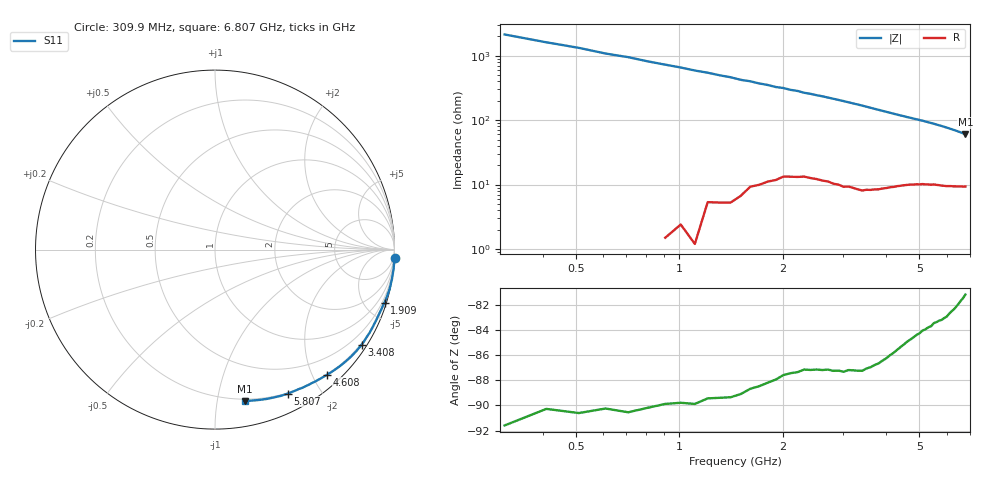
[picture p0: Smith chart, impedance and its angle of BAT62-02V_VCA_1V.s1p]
! Infineon Technologies  Discrete & RF Semiconductors
! BAT62-02V
! VCA = 1 V
! One-Port S-Parameters
# Hz  S  MA  R  50
!f  S11
!Hz  Mag  Ang
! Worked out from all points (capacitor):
!   66 points, 309.9 MHz to 6.807 GHz, reference 50 ohm
!   read as one part to ground: C = 240 fF near 309.9 MHz
!   lowest |Z| = 60.8 ohm at 6.807 GHz (marker M1)
!   S11 on the Smith chart (normalised r, x): 309.9 MHz: -1, -43; 1.909 GHz: 0.24, -6.55; 3.408 GHz: 0.16, -3.36; 4.608 GHz: 0.20, -2.23; 5.807 GHz: 0.19, -1.61; 6.807 GHz: 0.19, -1.20
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3.0985e8  1.001 -2.7
7.0965e8  1.001 -6.0
1.2094e9  0.9982 -10.5
1.4093e9  0.9976 -12.3
1.50925e9  0.9963 -13.5
1.6092e9  0.9943 -14.2
1.70915e9  0.993 -15.3
1.8091e9  0.9912 -16.1
1.90905e9  0.9893 -17.3
2.009e9  0.9871 -18.0
2.10895e9  0.9854 -19.2
2.2089e9  0.9844 -19.9
2.30885e9  0.9821 -21.2
2.6087e9  0.9802 -24.0
2.8086e9  0.9791 -26.1
3.0085e9  0.978 -28.3
3.4083e9  0.9741 -33.0
3.6082e9  0.9695 -35.6
4.008e9  0.9581 -40.6
4.4078e9  0.9435 -45.7
4.6077e9  0.936 -48.1
4.70765e9  0.9329 -49.1
5.2074e9  0.9167 -55.1
5.8071e9  0.8991 -63.1
6.007e9  0.893 -66.0
6.4068e9  0.8769 -72.1
6.50675e9  0.8725 -73.8
6.8066e9  0.8592 -78.8
